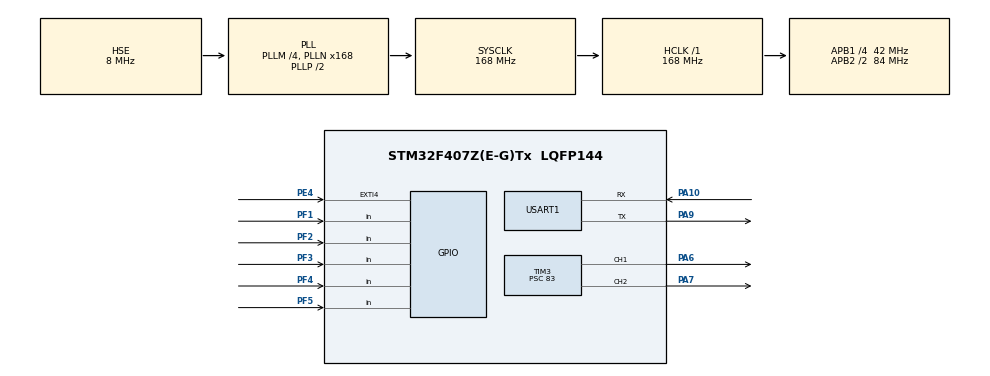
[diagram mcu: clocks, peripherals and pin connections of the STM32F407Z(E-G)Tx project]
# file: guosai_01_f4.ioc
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Mcu.Family=STM32F4
Mcu.Name=STM32F407Z(E-G)Tx
Mcu.Package=LQFP144
NVIC.EXTI4_IRQn=true\:3\:0\:true\:false\:true\:true\:true\:true
NVIC.PriorityGroup=NVIC_PRIORITYGROUP_4
NVIC.USART1_IRQn=true\:2\:0\:true\:false\:true\:true\:true\:true
PA10.Mode=Asynchronous
PA10.Signal=USART1_RX
PA13.Mode=Serial_Wire
PA13.Signal=SYS_JTMS-SWDIO
PA14.Mode=Serial_Wire
PA14.Signal=SYS_JTCK-SWCLK
PA6.Signal=S_TIM3_CH1
PA7.Signal=S_TIM3_CH2
PA9.Mode=Asynchronous
PA9.Signal=USART1_TX
PE4.GPIO_ModeDefaultEXTI=GPIO_MODE_IT_RISING
PE4.GPIO_PuPd=GPIO_PULLUP
PE4.Signal=GPXTI4
PF1.GPIO_PuPd=GPIO_PULLUP
PF1.Signal=GPIO_Input
PF2.GPIO_PuPd=GPIO_PULLUP
PF2.Signal=GPIO_Input
PF3.GPIO_PuPd=GPIO_PULLUP
PF3.Signal=GPIO_Input
PF4.GPIO_PuPd=GPIO_PULLUP
PF4.Signal=GPIO_Input
PF5.GPIO_PuPd=GPIO_PULLUP
PF5.Signal=GPIO_Input
PH0-OSC_IN.Mode=HSE-External-Oscillator
PH0-OSC_IN.Signal=RCC_OSC_IN
PH1-OSC_OUT.Mode=HSE-External-Oscillator
PH1-OSC_OUT.Signal=RCC_OSC_OUT
ProjectManager.HeapSize=0x200
ProjectManager.StackSize=0x400
ProjectManager.TargetToolchain=MDK-ARM V5.32
RCC.48MHZClocksFreq_Value=84000000
RCC.AHBFreq_Value=168000000
RCC.APB1CLKDivider=RCC_HCLK_DIV4
RCC.APB1Freq_Value=42000000
RCC.APB1TimFreq_Value=84000000
RCC.APB2CLKDivider=RCC_HCLK_DIV2
RCC.APB2Freq_Value=84000000
RCC.APB2TimFreq_Value=168000000
RCC.CortexFreq_Value=168000000
RCC.HCLKFreq_Value=168000000
RCC.HSE_VALUE=8000000
RCC.HSI_VALUE=16000000
RCC.LSE_VALUE=32768
RCC.PLLM=4
RCC.PLLN=168
RCC.PLLSourceVirtual=RCC_PLLSOURCE_HSE
RCC.SYSCLKFreq_VALUE=168000000
RCC.SYSCLKSource=RCC_SYSCLKSOURCE_PLLCLK
RCC.VCOOutputFreq_Value=336000000
SH.S_TIM3_CH1.0=TIM3_CH1,PWM Generation1 CH1
SH.S_TIM3_CH2.0=TIM3_CH2,PWM Generation2 CH2
TIM3.Channel-PWM\ Generation1\ CH1=TIM_CHANNEL_1
TIM3.Channel-PWM\ Generation2\ CH2=TIM_CHANNEL_2
TIM3.Period=19999
TIM3.Prescaler=83
USART1.VirtualMode=VM_ASYNC
board=custom

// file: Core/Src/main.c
/* USER CODE BEGIN Header */
/**
  ******************************************************************************
  * @file           : main.c
  * @brief          : Main program body
  ******************************************************************************
  * @attention
  *
  * Copyright (c) 2023 STMicroelectronics.
  * All rights reserved.
  *
  * This software is licensed under terms that can be found in the LICENSE file
  * in the root directory of this software component.
  * If no LICENSE file comes with this software, it is provided AS-IS.
  *
  ******************************************************************************
  */
/* USER CODE END Header */
#include "main.h"
#include "tim.h"
#include "usart.h"
#include "gpio.h"

/* USER CODE BEGIN Includes */
#include "User.h"
#include "Servo.h"
#include "EXTI.h"
#include "Openmv.h"
#include "pid.h"
#include "math.h"
/* USER CODE END Includes */

void SystemClock_Config(void);

/* USER CODE BEGIN 0 */
int i,j,z,b=0;
uint8_t usart1_rxbuff;
int a=0,po=0;
extern int aa,bb,cc,dd,ee,ff,gg,hh,ii,jj;
extern int Last_Realizex,Last_Realizey;
float pa,pb,pc,pd,pe,pf,pg,pi,pj;
int xe=0,ye;
void delay_ms(uint32_t nTimer)
{
	uint32_t i=0;
	for(i=0;i<nTimer;i++){
		for(z=0;z<=100;z++){

			for(j=0;j<=84;j++)
		{
		__NOP();
		}
		j=0;
	}
		z=0;
	}
}
 void HAL_GPIO_EXTI_Callback(uint16_t GPIO_Pin)
{
	if(GPIO_Pin==GPIO_PIN_4)
	{
		delay_ms(100);
		if(HAL_GPIO_ReadPin(GPIOE,GPIO_PIN_4)==GPIO_PIN_SET)
		{
			delay_ms(100);
			if(a%2==0)
			{
							while(1)
						{
						if(HAL_GPIO_ReadPin(GPIOE,GPIO_PIN_4)==GPIO_PIN_RESET)
						{
							break;
						}
						}
					}
			else{}
		a++;
		}
	}
}

void HAL_UART_RxCpltCallback(UART_HandleTypeDef *huart)
{
  uint16_t tem;
  if(huart->Instance==USART1)
  {
    tem=usart1_rxbuff;
    Openmv_Receive_Data(tem);
  }
  HAL_UART_Receive_IT(&huart1,(void *)&usart1_rxbuff,1);
}
/* USER CODE END 0 */

int main(void)
{

  /* MCU Configuration--------------------------------------------------------*/

  /* Reset of all peripherals, Initializes the Flash interface and the Systick. */
  HAL_Init();

  /* Configure the system clock */
  SystemClock_Config();

  /* Initialize all configured peripherals */
  MX_GPIO_Init();
  MX_TIM3_Init();
  MX_USART1_UART_Init();
  /* USER CODE BEGIN 2 */
	User_PWMInit();
	HAL_UART_Receive_IT(&huart1,(void *)&usart1_rxbuff,1);
  /* USER CODE END 2 */

  /* Infinite loop */
  /* USER CODE BEGIN WHILE */
  while (1)
	{
		if(HAL_GPIO_ReadPin(GPIOF,GPIO_PIN_1)==GPIO_PIN_RESET)
		{
			delay_ms(10);
			point();
		}//back to the initial point
		if(HAL_GPIO_ReadPin(GPIOF,GPIO_PIN_2)==GPIO_PIN_RESET)
		{
			delay_ms(10);
			square();
		}//run around the white screen
		if(HAL_GPIO_ReadPin(GPIOF,GPIO_PIN_3)==GPIO_PIN_RESET)
		{
		delay_ms(10);
			black();
	}	//run around the black square
		if(HAL_GPIO_ReadPin(GPIOF,GPIO_PIN_4)==GPIO_PIN_RESET)
		{
		delay_ms(10);
		four_two();
	}	//closed-loop contrl to run around the black square
		if(HAL_GPIO_ReadPin(GPIOF,GPIO_PIN_5)==GPIO_PIN_RESET)
		{
		delay_ms(10);
		star();
	}
//		while(1)
//		{
//		a11=(1814-1805)/255;
//		a22=(2105-1850)/255;
//		flag++;
//		b11=1814-flag*a11;
//		b22=2105-flag*a22;
//		__HAL_TIM_SetCompare(&htim3, TIM_CHANNEL_1, b11);
//		__HAL_TIM_SetCompare(&htim3, TIM_CHANNEL_2, b22);
//		if(b22==1850)
//		{
//			break;
//		}
//		delay_ms(10);
//
//		}

//	__HAL_TIM_SetCompare(&htim3, TIM_CHANNEL_1, 1890);
//		__HAL_TIM_SetCompare(&htim3, TIM_CHANNEL_2, 2117);
//		int r=100,a1=1890,a2=2117;
//		delay_ms(1000);
//		while(1)
//		{
//		__HAL_TIM_SetCompare(&htim3, TIM_CHANNEL_1, a1);
//		__HAL_TIM_SetCompare(&htim3, TIM_CHANNEL_2, a2);
//			a1++;
//			a2++;
//			delay_ms(50);
//			r--;
//			if(r<=0)
//			{
//			break;
//			}
//
//		}
//		delay_ms(10000);

		//中心
//		__HAL_TIM_SetCompare(&htim3, TIM_CHANNEL_1, 1916);//前后加3
//				__HAL_TIM_SetCompare(&htim3, TIM_CHANNEL_2, 2123);//前后加3
//		左上角，
//		__HAL_TIM_SetCompare(&htim3, TIM_CHANNEL_1, 1802);//前后加3
//				__HAL_TIM_SetCompare(&htim3, TIM_CHANNEL_2, 2261);//前后加3

//		右上角
//		HAL_Delay(3000);
//						__HAL_TIM_SetCompare(&htim3, TIM_CHANNEL_1, 1793);//前后加3
//				__HAL_TIM_SetCompare(&htim3, TIM_CHANNEL_2, 1986);//前后加3

////		左下角
//		HAL_Delay(3000);
//						__HAL_TIM_SetCompare(&htim3, TIM_CHANNEL_1, 2051);//前后加3
//				__HAL_TIM_SetCompare(&htim3, TIM_CHANNEL_2, 2261);//前后加3

////		右下角
//		HAL_Delay(3000);
//				__HAL_TIM_SetCompare(&htim3, TIM_CHANNEL_1, 2045);//前后加3
//				__HAL_TIM_SetCompare(&htim3, TIM_CHANNEL_2, 1980);//前后加3
//		break;
//HAL_Delay(3000);
//		HAL_Delay(2000);
//					__HAL_TIM_SetCompare(&htim3, TIM_CHANNEL_1, 2300);
//		HAL_Delay(2000);
//		__HAL_TIM_SetCompare(&htim3, TIM_CHANNEL_2, 2500);
//		HAL_Delay(2000);

//		    __HAL_TIM_SetCompare(&htim3, TIM_CHANNEL_1, 1790);//前后加3
//				__HAL_TIM_SetCompare(&htim3, TIM_CHANNEL_2, 2261);//前后加3

//				while(1)
//			{
//				 PID_Realizex(aa,gg);
//		  __HAL_TIM_SetCompare(&htim3, TIM_CHANNEL_2,1790-Last_Realizex);
//			PID_Realizey(bb,hh);
//		  __HAL_TIM_SetCompare(&htim3, TIM_CHANNEL_1,2261-Last_Realizey);
//			delay_ms(500);
//				dec(gg,hh);
//			if(c<=2&&d<=2)
//			{
//				break;
//			}
//			}
//			while(1)
//			{
//				 PID_Realizex(aa,ee);
//		  __HAL_TIM_SetCompare(&htim3, TIM_CHANNEL_2,1790-Last_Realizex);
//			PID_Realizey(bb,ff);
//		  __HAL_TIM_SetCompare(&htim3, TIM_CHANNEL_1,2261-Last_Realizey);
//			delay_ms(500);
//				dec(ee,ff);
//			if(c<=2&&d<=2)
//			{
//				break;
//			}
//			}
//			while(1)
//			{
//				 PID_Realizex(aa,cc);
//		  __HAL_TIM_SetCompare(&htim3, TIM_CHANNEL_2,1790-Last_Realizex);
//			PID_Realizey(bb,dd);
//		  __HAL_TIM_SetCompare(&htim3, TIM_CHANNEL_1,2261-Last_Realizey);
//			delay_ms(500);
//				dec(cc,dd);
//			if(c<=2&&d<=2)
//			{
//				break;
//			}
//			}
//			while(1)
//			{
//			PID_Realizex(aa,ii);
//		  __HAL_TIM_SetCompare(&htim3, TIM_CHANNEL_2,1790-Last_Realizex);
//			PID_Realizey(bb,jj);
//		  __HAL_TIM_SetCompare(&htim3, TIM_CHANNEL_1,2261-Last_Realizey);
//			delay_ms(500);
//				dec(ii,jj);
//			if(c<=2&&d<=2)
//			{
//				__HAL_TIM_SetCompare(&htim3, TIM_CHANNEL_1, 1916);
//				__HAL_TIM_SetCompare(&htim3, TIM_CHANNEL_2, 2117);
//			}
//			}
//
//	 }
//		else{
//					__HAL_TIM_SetCompare(&htim3, TIM_CHANNEL_1, 1790);
//					__HAL_TIM_SetCompare(&htim3, TIM_CHANNEL_2, 2261);

//		}

//			HAL_Delay(200);
//		__HAL_TIM_SetCompare(&htim3, TIM_CHANNEL_1,2000);
//		pe=(264.0/117.0)*(ee-116.0);
//		pf=(256.0/118.0)*(ff-38.0);
//		__HAL_TIM_SetCompare(&htim3, TIM_CHANNEL_1,2240-pe);
//		__HAL_TIM_SetCompare(&htim3, TIM_CHANNEL_2,2140-pf);
//		pc=(264.0/117.0)*(cc-116.0);
//		pd=(256.0/118.0)*(dd-38.0);
//		__HAL_TIM_SetCompare(&htim3, TIM_CHANNEL_1,2240-pc);
//		__HAL_TIM_SetCompare(&htim3, TIM_CHANNEL_2,2140-pd);

//		__HAL_TIM_SetCompare(&htim3, TIM_CHANNEL_1,2240);//下限2240，上限1984
//	  HAL_Delay(3000);
//		__HAL_TIM_SetCompare(&htim3, TIM_CHANNEL_1, 1992);
//					__HAL_TIM_SetCompare(&htim3, TIM_CHANNEL_1, 2000);
//		HAL_Delay(3000);
//			__HAL_TIM_SetCompare(&htim3, TIM_CHANNEL_2, 2136);//左上2144，左下2136，右下1868，右上1884
//			HAL_Delay(3000);
//			__HAL_TIM_SetCompare(&htim3, TIM_CHANNEL_2, 1500);
//			HAL_Delay(3000);
    /* USER CODE END WHILE */

  }
}

void SystemClock_Config(void)
{
  RCC_OscInitTypeDef RCC_OscInitStruct = {0};
  RCC_ClkInitTypeDef RCC_ClkInitStruct = {0};

  /** Configure the main internal regulator output voltage
  */
  __HAL_RCC_PWR_CLK_ENABLE();
  __HAL_PWR_VOLTAGESCALING_CONFIG(PWR_REGULATOR_VOLTAGE_SCALE1);

  /** Initializes the RCC Oscillators according to the specified parameters
  * in the RCC_OscInitTypeDef structure.
  */
  RCC_OscInitStruct.OscillatorType = RCC_OSCILLATORTYPE_HSE;
  RCC_OscInitStruct.HSEState = RCC_HSE_ON;
  RCC_OscInitStruct.PLL.PLLState = RCC_PLL_ON;
  RCC_OscInitStruct.PLL.PLLSource = RCC_PLLSOURCE_HSE;
  RCC_OscInitStruct.PLL.PLLM = 4;
  RCC_OscInitStruct.PLL.PLLN = 168;
  RCC_OscInitStruct.PLL.PLLP = RCC_PLLP_DIV2;
  RCC_OscInitStruct.PLL.PLLQ = 4;
  if (HAL_RCC_OscConfig(&RCC_OscInitStruct) != HAL_OK)
  {
    Error_Handler();
  }

  /** Initializes the CPU, AHB and APB buses clocks
  */
  RCC_ClkInitStruct.ClockType = RCC_CLOCKTYPE_HCLK|RCC_CLOCKTYPE_SYSCLK
                              |RCC_CLOCKTYPE_PCLK1|RCC_CLOCKTYPE_PCLK2;
  RCC_ClkInitStruct.SYSCLKSource = RCC_SYSCLKSOURCE_PLLCLK;
  RCC_ClkInitStruct.AHBCLKDivider = RCC_SYSCLK_DIV1;
  RCC_ClkInitStruct.APB1CLKDivider = RCC_HCLK_DIV4;
  RCC_ClkInitStruct.APB2CLKDivider = RCC_HCLK_DIV2;

  if (HAL_RCC_ClockConfig(&RCC_ClkInitStruct, FLASH_LATENCY_5) != HAL_OK)
  {
    Error_Handler();
  }
}

void Error_Handler(void)
{
  __disable_irq();
  while (1)
  {
  }
}
